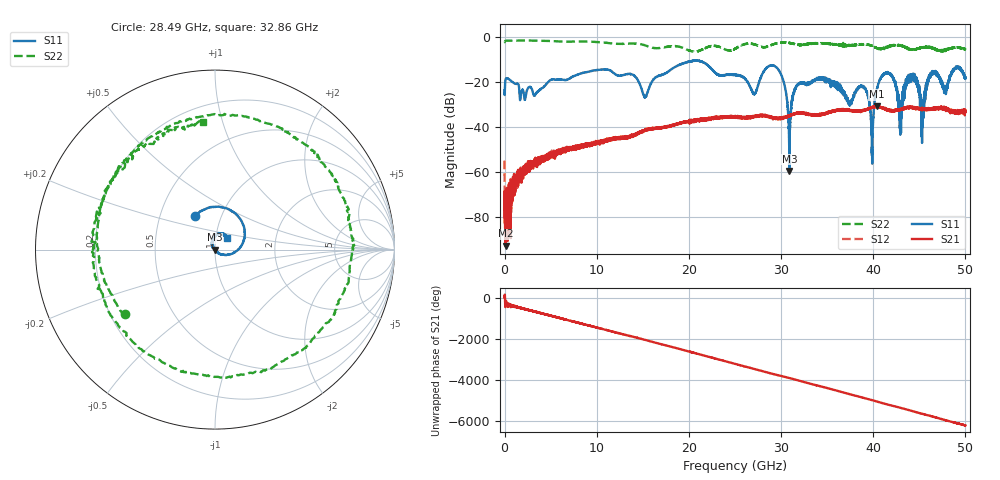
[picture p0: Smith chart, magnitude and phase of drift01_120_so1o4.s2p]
!Created with skrf (http://scikit-rf.org).
# Hz S RI R 50.0
!freq ReS11 ImS11 ReS21 ImS21 ReS12 ImS12 ReS22 ImS22
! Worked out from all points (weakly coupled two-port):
!   10001 points, 300 kHz to 50 GHz, reference 50 ohm
!   highest |S21| = -30.57 dB at 40.37 GHz (marker M1); lowest = -92.6 dB at 105.3 MHz (marker M2)
!   lowest |S11| = -59.4 dB at 30.9 GHz (marker M3), VSWR 1.00, Z = 49.9 - j0.0214 ohm
!   |S11| at or under -10 dB: start of sweep to end of sweep
!   |S22| runs from -6.3 to -1.4 dB; largest |S21 - S12| = 0.0054
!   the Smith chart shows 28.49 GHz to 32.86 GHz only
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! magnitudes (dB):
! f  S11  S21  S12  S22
! 300 kHz  -23.4  -76.4  -54.7  -2.1
! 105.3 MHz  -18.7  -92.6  -74.7  -1.5
! 2.65 GHz  -22.1  -57.6  -56.6  -1.4
! 8.335 GHz  -16.0  -48.4  -48.6  -1.8
! 15.23 GHz  -26.5  -41.1  -41.3  -3.5
! 16.67 GHz  -17.1  -40.3  -40.2  -4.8
! 25 GHz  -16.7  -35.2  -35.3  -5.1
! 27.1 GHz  -25.3  -35.1  -35.1  -3.1
! 29.44 GHz  -13.1  -36.0  -35.9  -2.7
! 30.9 GHz  -59.4  -34.9  -34.7  -2.5
! 31.68 GHz  -21.6  -33.7  -33.6  -3.2
! 33.34 GHz  -19.5  -34.3  -34.2  -2.7
! 37.5 GHz  -29.0  -32.4  -32.7  -3.6
! 38.91 GHz  -22.1  -32.6  -32.6  -3.0
! 39.86 GHz  -52.6  -31.2  -31.2  -3.7
! 40.37 GHz  -23.2  -30.6  -30.9  -4.8
! 41.67 GHz  -15.8  -32.4  -32.4  -4.2
! 42.95 GHz  -34.7  -31.9  -32.1  -3.6
! 44.08 GHz  -18.7  -31.0  -31.2  -5.3
! 45.31 GHz  -32.5  -32.0  -32.1  -4.4
! 46.42 GHz  -15.5  -32.0  -31.7  -4.7
! 50 GHz  -18.0  -33.0  -32.7  -5.3
